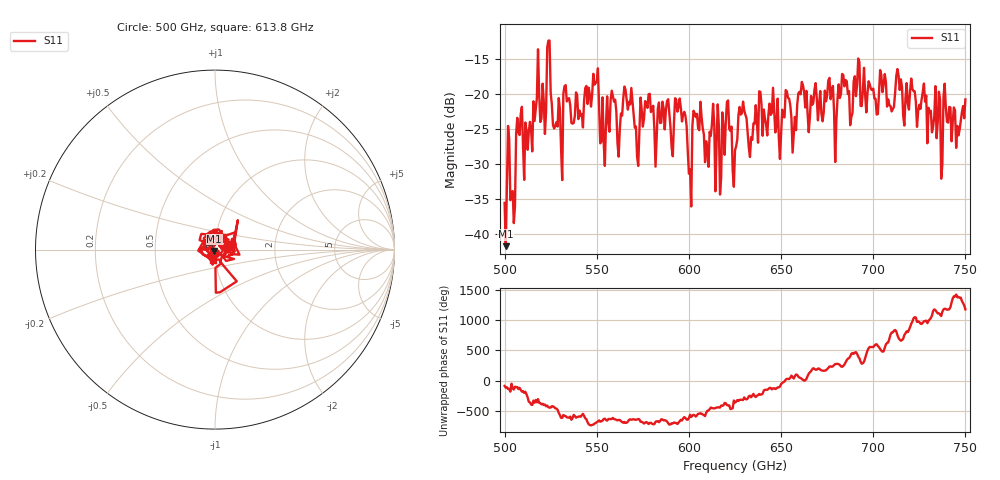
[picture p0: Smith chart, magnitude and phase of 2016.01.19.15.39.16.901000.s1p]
!Created with skrf (http://scikit-rf.org).
# GHz S RI R 50.0
!freq ReS11 ImS11
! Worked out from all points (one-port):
!   401 points, 500 GHz to 750 GHz, reference 50 ohm
!   lowest |S11| = -41.7 dB at 500.6 GHz (marker M1), VSWR 1.02, Z = 49.6 - j0.709 ohm
!   |S11| at or under -10 dB: start of sweep to end of sweep
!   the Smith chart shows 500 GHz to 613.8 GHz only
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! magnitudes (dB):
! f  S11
! 500 GHz  -35.5
! 500.6 GHz  -41.7
! 524.4 GHz  -12.4
! 526.9 GHz  -24.9
! 531.2 GHz  -32.3
! 549.4 GHz  -18.4
! 553.1 GHz  -20.5
! 558.8 GHz  -20.3
! 562.5 GHz  -25.0
! 565.6 GHz  -19.4
! 571.9 GHz  -28.9
! 577.5 GHz  -22.0
! 590.6 GHz  -27.6
! 593.8 GHz  -22.5
! 600 GHz  -31.3
! 603.1 GHz  -22.7
! 618.1 GHz  -22.6
! 621.9 GHz  -25.0
! 625 GHz  -28.0
! 628.8 GHz  -22.8
! 633.1 GHz  -29.0
! 639.4 GHz  -21.5
! 656.2 GHz  -28.4
! 660.6 GHz  -20.1
! 687.5 GHz  -24.5
! 691.2 GHz  -18.7
! 718.8 GHz  -21.4
! 750 GHz  -20.8
